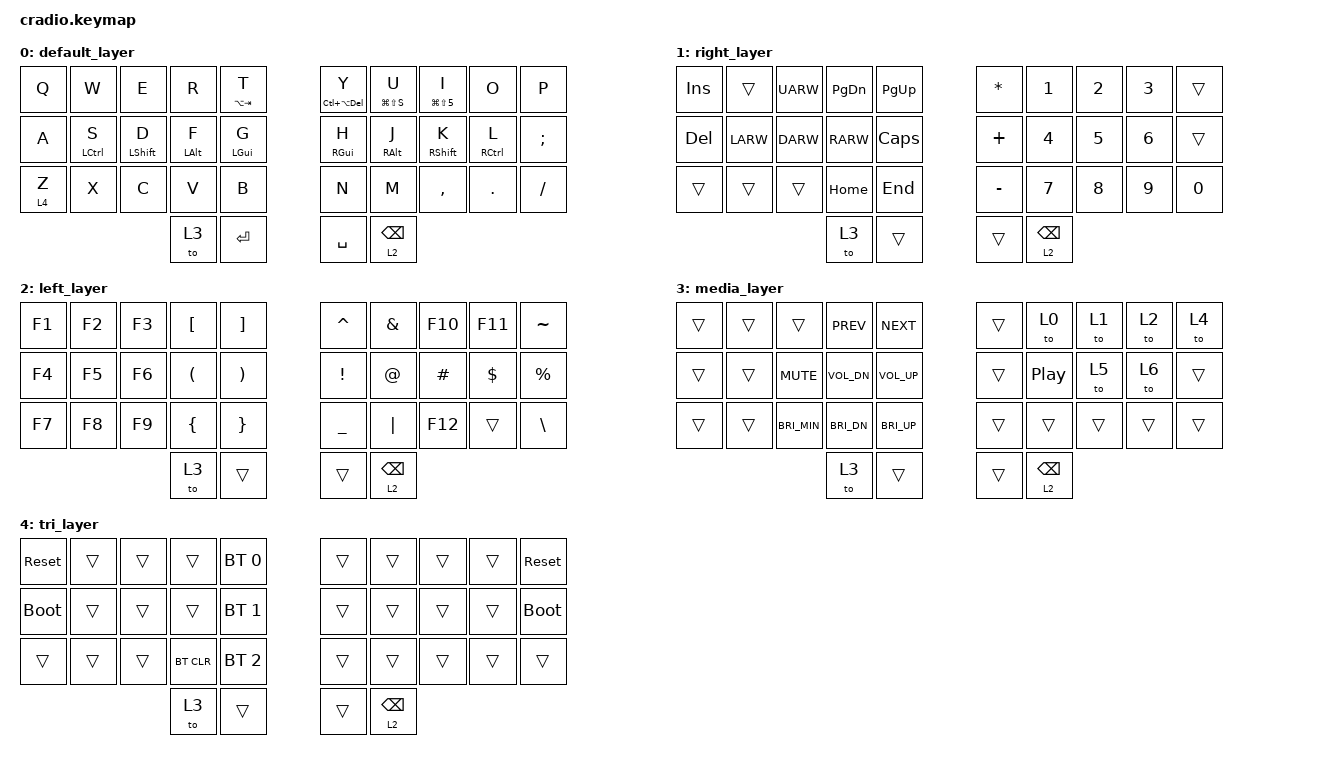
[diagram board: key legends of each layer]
// Copyright (c) 2022 The ZMK Contributors
// SPDX-License-Identifier: MIT

#include <behaviors.dtsi>
#include <dt-bindings/zmk/keys.h>
#include <dt-bindings/zmk/bt.h>
#include <dt-bindings/zmk/mouse.h>

// Home row mods macro
// #define HRML(k1,k2,k3,k4) &ht LGUI k1  &ht LALT k2  &ht LCTRL k3  &ht LSHIFT k4
// #define HRMR(k1,k2,k3,k4) &ht RSHIFT k1  &ht RCTRL k2  &ht RALT k3  &ht RGUI k4

&mt {
    flavor = "tap-preferred";
    tapping_term_ms = <200>;
};

/ {
    behaviors {
        ht: hold_tap {
            compatible = "zmk,behavior-hold-tap";
            #binding-cells = <2>;
            flavor = "tap-preferred";
            tapping-term-ms = <220>;
            quick-tap-ms = <150>;
            require-prior-idle-ms = <100>;
            bindings = <&kp>, <&kp>;
        };
        hm: homerow_mods {
            compatible = "zmk,behavior-hold-tap";
            label = "HOMEROW_MODS";
            #binding-cells = <2>;
           tapping-term-ms = <250>;
            quick_tap_ms = <200>;
            flavor = "tap-preferred";
            bindings = <&kp>, <&kp>;
        };
        td: tapdance {
            compatible = "zmk,behavior-hold-tap";
            label = "TAPDANCE";
            #binding-cells = <2>;
            tapping-term-ms = <150>;
            quick_tap_ms = <0>;
            flavor = "tap-preferred";
           bindings = <&kp>, <&kp>;
        };
    };

    //conditional_layers {
    //    compatible = "zmk,conditional-layers";
    //    tri_layer {
    //        if-layers = <1 2>;
    //        then-layer = <3>;
    //    };
    //};

    combos {
        compatible = "zmk,combos";
        combo_dqt {
             bindings = <&kp DQT>;
             key-positions = <2 3 6 7>;
        };
        combo_sqt {
             bindings = <&kp SQT>;
             key-positions = <2 3>;
        };
        combo_equal {
             bindings = <&kp EQUAL>;
             key-positions = <6 7>;
        };
        combo_esc {
         bindings = <&kp ESC>;
         key-positions = <1 2>;
        };
        combo_tab {
         bindings = <&kp TAB>;
         key-positions = <11 12>;
        }; 
        combo_up {
         bindings = <&kp UARW>;
         key-positions = <16 17>;
        }; 
        combo_down {
         bindings = <&kp DARW>;
         key-positions = <26 27>;
        }; 
        combo_right {
         bindings = <&kp RARW>;
         key-positions = <28 29>;
        }; 
        combo_left {
         bindings = <&kp LARW>;
         key-positions = <27 28>;
        }; 
    };



    keymap {
        compatible = "zmk,keymap";
        default_layer {
            bindings = <
        //╭───────────┬───────────┬───────────┬───────────┬───────────╮   ╭───────────┬───────────┬───────────┬───────────┬───────────╮
        //│   Q       │   W       │   E       │   R       │   T       │   │   Y       │   U       │   I       │   O       │   P       │
        //├───────────┼───────────┼───────────┼───────────┼───────────┤   ├───────────┼───────────┼───────────┼───────────┼───────────┤
        //│   V       │   S       │   D       │   F       │   G       │   │   H       │   J       │   K       │   L       │  ; :      │
        //├───────────┼───────────┼───────────┼───────────┼───────────┤   ├───────────┼───────────┼───────────┼───────────┼───────────┤
        //│   Z       │   X       │   C       │   A       │   B       │   │   N       │   M       │  , <      │  . >      │  / ?      │
        //╰───────────┴───────────┴───────────┼───────────┼───────────┤   ├───────────┼───────────┼───────────┴───────────┴───────────╯
        //                                    ╰───────────┴───────────╯   ╰───────────┴───────────╯
        //    &kp Q         &kp W       &kp E       &kp R       &hm T           &kp Y       &kp U       &kp I      &kp O        &kp P
        //    &kp A         HRML(S,     D,          F,          G)              HRMR(H,     J,          K,         L)           &kp SEMI
        //    &kp Z         &kp X       &kp C       &kp V       &kp B           &kp N       &kp M       &kp COMMA  &kp DOT      &kp FSLH
        //                                          &lt 1 TAB   &kp ENTER       &kp SPACE   &lt 2 BSPC
              &kp Q         &kp W        &kp E         &kp R       &hm LA(TAB) T    &hm LC(LA(DEL)) Y  &hm LG(LS(S)) U  &hm LG(LS(N5)) I  &kp O         &kp P
              &kp A         &hm LCTRL S  &hm LSHIFT D  &hm LALT F  &hm LGUI G       &hm RGUI H          &hm RALT J       &hm RSHIFT K     &hm RCTRL L   &kp SEMI
              &lt 4 Z         &kp X        &kp C         &kp V       &kp B          &kp N               &kp M            &kp COMMA        &kp DOT       &kp FSLH
                                                       &to 3       &kp ENTER        &kp SPACE           &lt 2 BSPC
            >;
        };

        right_layer {
            bindings = <
        //╭───────────┬───────────┬───────────┬───────────┬───────────╮   ╭───────────┬───────────┬───────────┬───────────┬───────────╮
        //│ INS       │           │   ▲       │ PG DOWN   │ PG UP     │   │   *       │   1       │   2       │   3       │           │
        //├───────────┼───────────┼───────────┼───────────┼───────────┤   ├───────────┼───────────┼───────────┼───────────┼───────────┤
        //│ DEL       │   ◄       │   ▼       │   ►       │ CAPS      │   │   +       │   4       │   5       │   6       │           │
        //├───────────┼───────────┼───────────┼───────────┼───────────┤   ├───────────┼───────────┼───────────┼───────────┼───────────┤
        //│           │           │           │ HOME      │ END       │   │   -       │   7       │   8       │   9       │  0        │
        //╰───────────┴───────────┴───────────┼───────────┼───────────┤   ├───────────┼───────────┼───────────┴───────────┴───────────╯
        //                                    |           |           |   |           |           |
        //                                    ╰───────────┴───────────╯   ╰───────────┴───────────╯
        //    &kp INS      &trans     &kp UARW    &kp PG_DN   &kp PG_UP      &kp ASTERISK   &kp N1      &kp N2      &kp N3     &trans
        //    &kp DEL      &kp LARW   &kp DARW    &kp RARW    &kp CAPS       &kp PLUS       &kp N4      &kp N5      &kp N6     &trans
        //    &trans       &trans     &trans      &kp HOME    &kp END        &kp MINUS      &kp N7      &kp N8      &kp N9     &kp N0
        //                                        &trans      &kp ESC        &trans         &trans
              &kp INS      &trans     &kp UARW    &kp PG_DN   &kp PG_UP      &kp ASTERISK   &kp N1      &kp N2      &kp N3     &trans
              &kp DEL      &kp LARW   &kp DARW    &kp RARW    &kp CAPS       &kp PLUS       &kp N4      &kp N5      &kp N6     &trans
              &trans       &trans     &trans      &kp HOME    &kp END        &kp MINUS      &kp N7      &kp N8      &kp N9     &kp N0
                                                  &to 3       &trans         &trans         &lt 2 BSPC   
                    >;
        };

        left_layer {
            bindings = <
        //╭───────────┬───────────┬───────────┬───────────┬───────────╮   ╭───────────┬───────────┬───────────┬───────────┬───────────╮
        //│ F1        │ F2        │ F3        │    [      │    ]      │   │   ^       │   &       │   F10     │   F11     │  ~        │
        //├───────────┼───────────┼───────────┼───────────┼───────────┤   ├───────────┼───────────┼───────────┼───────────┼───────────┤
        //│ F4        │ F5        │ F6        │    (      │    )      │   │   !       │   @       │   #       │   $       │  %        │
        //├───────────┼───────────┼───────────┼───────────┼───────────┤   ├───────────┼───────────┼───────────┼───────────┼───────────┤
        //│ F7        │ F8        │ F9        │    {      │    }      │   │   _       │   |       │   F12     │           │  \        │
        //╰───────────┴───────────┴───────────┼───────────┼───────────┤   ├───────────┼───────────┼───────────┴───────────┴───────────╯
        //                                    | 3 TAB     |           |   |           | 4 BSPC    |
        //                                    ╰───────────┴───────────╯   ╰───────────┴───────────╯
        //    &kp F1      &kp F2      &kp F3      &kp LBKT    &kp RBKT        &kp CARET   &kp AMPS    &kp F10     &kp F11     &kp TILDE
        //    &kp F4      &kp F5      &kp F6      &kp LPAR    &kp RPAR        &kp EXCL    &kp AT      &kp HASH    &kp DLLR    &kp PRCNT
        //    &kp F7      &kp F8      &kp F9      &kp LBRC    &kp RBRC        &kp UNDER   &kp PIPE    &kp F12     &trans      &kp BSLH
        //                                        &trans      &trans          &trans      &trans
              &kp F1      &kp F2      &kp F3      &kp LBKT    &kp RBKT        &kp CARET   &kp AMPS    &kp F10     &kp F11     &kp TILDE
              &kp F4      &kp F5      &kp F6      &kp LPAR    &kp RPAR        &kp EXCL    &kp AT      &kp HASH    &kp DLLR    &kp PRCNT
              &kp F7      &kp F8      &kp F9      &kp LBRC    &kp RBRC        &kp UNDER   &kp PIPE    &kp F12     &trans      &kp BSLH
                                                  &to 3       &trans          &trans      &lt 2 BSPC   
            >;
        };

        media_layer {
            bindings = <
            &trans     &trans     &trans            &kp C_PREV     &kp C_NEXT     &trans     &to 0     &to 1     &to 2     &to 4
            &trans     &trans     &kp C_MUTE        &kp C_VOL_DN   &kp C_VOL_UP   &trans     &kp C_PP  &to 5     &to 6     &trans
            &trans     &trans     &kp C_BRI_MIN     &kp C_BRI_DN   &kp C_BRI_UP   &trans     &trans    &trans    &trans    &trans
                                                    &to 3      &trans         &trans     &lt 2 BSPC   
            >;
        };

        tri_layer {
            bindings = <
        //╭──────────┬──────────┬──────────┬──────────┬──────────╮   ╭──────────┬──────────┬──────────┬──────────┬──────────╮
        //│ RESET    │          │          │          │PROFILE 0 │   │          │          │          │          │  RESET   │
           &sys_reset  &trans     &trans     &trans    &bt BT_SEL 0    &trans     &trans     &trans     &trans    &sys_reset
        //├──────────┼──────────┼──────────┼──────────┼──────────┤   ├──────────┼──────────┼──────────┼──────────┼──────────┤
        //│BOOTLOADER│          │          │          │PROFILE 1 │   │          │          │          │          │BOOTLOADER│
          &bootloader  &trans     &trans     &trans    &bt BT_SEL 1    &trans     &trans     &trans     &trans    &bootloader
        //├──────────┼──────────┼──────────┼──────────┼──────────┤   ├──────────┼──────────┼──────────┼──────────┼──────────┤
        //│          │          │          │ CLEAR BT │PROFILE 2 │   │          │          │          │          │          │
            &trans     &trans     &trans    &bt BT_CLR &bt BT_SEL 2    &trans     &trans     &trans     &trans     &trans
        //╰──────────┴──────────┴──────────┼──────────┼──────────┤   ├──────────┼──────────┼──────────┴──────────┴──────────╯
                                             &to 3     &trans         &trans     &lt 2 BSPC
        //                                 ╰──────────┴──────────╯   ╰──────────┴──────────╯
            >;
        };
    };
};
